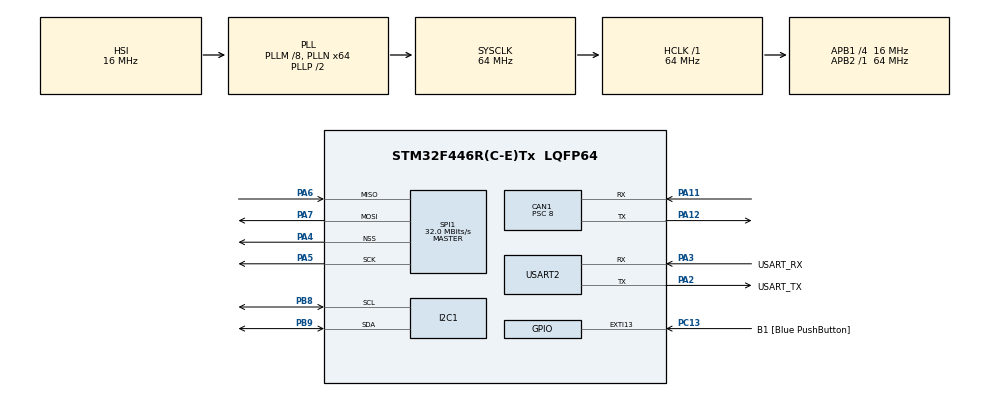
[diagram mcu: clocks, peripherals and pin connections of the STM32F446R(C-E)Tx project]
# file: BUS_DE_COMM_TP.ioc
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CAN1.BS1=CAN_BS1_13TQ
CAN1.BS2=CAN_BS2_2TQ
CAN1.CalculateBaudRate=125000
CAN1.CalculateTimeBit=8000
CAN1.CalculateTimeQuantum=500.0
CAN1.Prescaler=8
Mcu.Family=STM32F4
Mcu.Name=STM32F446R(C-E)Tx
Mcu.Package=LQFP64
NVIC.CAN1_RX0_IRQn=true\:0\:0\:false\:false\:true\:true\:true\:true
NVIC.CAN1_RX1_IRQn=true\:0\:0\:false\:false\:true\:true\:true\:true
NVIC.I2C1_ER_IRQn=true\:0\:0\:false\:false\:true\:true\:true\:true
NVIC.I2C1_EV_IRQn=true\:0\:0\:false\:false\:true\:true\:true\:true
NVIC.PriorityGroup=NVIC_PRIORITYGROUP_0
PA11.Mode=CAN_Activate
PA11.Signal=CAN1_RX
PA12.Mode=CAN_Activate
PA12.Signal=CAN1_TX
PA13.GPIO_Label=TMS
PA13.Mode=Serial_Wire
PA13.Signal=SYS_JTMS-SWDIO
PA14.GPIO_Label=TCK
PA14.Mode=Serial_Wire
PA14.Signal=SYS_JTCK-SWCLK
PA2.GPIO_Label=USART_TX
PA2.Mode=Asynchronous
PA2.Signal=USART2_TX
PA3.GPIO_Label=USART_RX
PA3.Mode=Asynchronous
PA3.Signal=USART2_RX
PA4.Mode=NSS_Signal_Hard_Output
PA4.Signal=SPI1_NSS
PA5.Mode=Full_Duplex_Master
PA5.Signal=SPI1_SCK
PA6.Mode=Full_Duplex_Master
PA6.Signal=SPI1_MISO
PA7.Mode=Full_Duplex_Master
PA7.Signal=SPI1_MOSI
PB8.Mode=I2C
PB8.Signal=I2C1_SCL
PB9.Mode=I2C
PB9.Signal=I2C1_SDA
PC13.GPIO_Label=B1 [Blue PushButton]
PC13.GPIO_ModeDefaultEXTI=GPIO_MODE_IT_FALLING
PC13.Signal=GPXTI13
PC14-OSC32_IN.Mode=LSE-External-Oscillator
PC14-OSC32_IN.Signal=RCC_OSC32_IN
PC15-OSC32_OUT.Mode=LSE-External-Oscillator
PC15-OSC32_OUT.Signal=RCC_OSC32_OUT
PH0-OSC_IN.Mode=HSE-External-Oscillator
PH0-OSC_IN.Signal=RCC_OSC_IN
PH1-OSC_OUT.Mode=HSE-External-Oscillator
PH1-OSC_OUT.Signal=RCC_OSC_OUT
ProjectManager.HeapSize=0x200
ProjectManager.StackSize=0x400
ProjectManager.TargetToolchain=STM32CubeIDE
RCC.48MHZClocksFreq_Value=84000000
RCC.AHBFreq_Value=64000000
RCC.APB1CLKDivider=RCC_HCLK_DIV4
RCC.APB1Freq_Value=16000000
RCC.APB1TimFreq_Value=32000000
RCC.APB2Freq_Value=64000000
RCC.APB2TimFreq_Value=64000000
RCC.CortexFreq_Value=64000000
RCC.FLatency-AdvancedSettings=FLASH_LATENCY_2
RCC.HCLKFreq_Value=64000000
RCC.HSE_VALUE=8000000
RCC.HSI_VALUE=16000000
RCC.PLLM=8
RCC.PLLN=64
RCC.SYSCLKFreq_VALUE=64000000
RCC.SYSCLKSource=RCC_SYSCLKSOURCE_PLLCLK
RCC.USBFreq_Value=64000000
RCC.VCOOutputFreq_Value=128000000
SPI1.CalculateBaudRate=32.0 MBits/s
SPI1.Direction=SPI_DIRECTION_2LINES
SPI1.Mode=SPI_MODE_MASTER
SPI1.VirtualNSS=VM_NSSHARD
SPI1.VirtualType=VM_MASTER
TIM6.AutoReloadPreload=TIM_AUTORELOAD_PRELOAD_ENABLE
TIM6.Prescaler=84
USART2.VirtualMode=VM_ASYNC
VP_TIM6_VS_ClockSourceINT.Mode=Enable_Timer
board=NUCLEO-F446RE

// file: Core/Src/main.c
/* USER CODE BEGIN Header */
/**
  ******************************************************************************
  * @file           : main.c
  * @brief          : Main program body
  ******************************************************************************
  * @attention
  *
  * Copyright (c) 2022 STMicroelectronics.
  * All rights reserved.
  *
  * This software is licensed under terms that can be found in the LICENSE file
  * in the root directory of this software component.
  * If no LICENSE file comes with this software, it is provided AS-IS.
  *
  ******************************************************************************
  */
/* USER CODE END Header */
#include "main.h"

/* USER CODE BEGIN Includes */
#include "RTC.h"

/* USER CODE END Includes */

CAN_HandleTypeDef hcan1;

I2C_HandleTypeDef hi2c1;

SPI_HandleTypeDef hspi1;

TIM_HandleTypeDef htim6;

UART_HandleTypeDef huart2;

void SystemClock_Config(void);
static void MX_GPIO_Init(void);
static void MX_USART2_UART_Init(void);
static void MX_TIM6_Init(void);
static void MX_SPI1_Init(void);
static void MX_I2C1_Init(void);
static void MX_CAN1_Init(void);
/* USER CODE BEGIN PFP */

int __io_putchar(int ch)
{
	while(((USART2->SR)&= (1<<7))==0);
	USART2->DR = ch;
}
/* USER CODE END PFP */

int main(void)
{
  /* USER CODE BEGIN 1 */
//	date_s date;
	CAN_TxHeaderTypeDef can_tx_header;
	CAN_RxHeaderTypeDef can_rx_header;
	CAN_FilterTypeDef can_filter;

	uint8_t TX_Buffer[8] = "Hugo";
	uint8_t RX_Buffer[8];
	HAL_StatusTypeDef status;

  /* USER CODE END 1 */

  /* MCU Configuration--------------------------------------------------------*/

  /* Reset of all peripherals, Initializes the Flash interface and the Systick. */
  HAL_Init();

  /* Configure the system clock */
  SystemClock_Config();

  /* Initialize all configured peripherals */
  MX_GPIO_Init();
  MX_USART2_UART_Init();
  MX_TIM6_Init();
  MX_SPI1_Init();
  MX_I2C1_Init();
  MX_CAN1_Init();

  /* Infinite loop */
  /* USER CODE BEGIN WHILE */
  HAL_Delay(1000);

  HAL_CAN_Start(&hcan1);

  can_filter.FilterMaskIdLow = 0x00;
  can_filter.FilterMaskIdHigh = 0x00;
  can_filter.FilterMode = CAN_FILTERMODE_IDMASK;
  can_filter.FilterActivation = CAN_FILTER_ENABLE;
  can_filter.FilterFIFOAssignment = CAN_RX_FIFO0;
  can_filter.FilterBank = 0;
  can_filter.FilterIdHigh = 0;
  can_filter.FilterIdLow = 0;
  can_filter.FilterScale = 0;
  can_filter.SlaveStartFilterBank = 0;
  HAL_CAN_ConfigFilter(&hcan1, &can_filter);

  can_tx_header.StdId = 10;
  can_tx_header.ExtId = 0;
  can_tx_header.IDE = CAN_ID_STD;
  can_tx_header.RTR = CAN_RTR_DATA;
  can_tx_header.DLC = 2;
  can_tx_header.TransmitGlobalTime = 0;

  HAL_Delay(1000);

  while (1)
  {
    /* USER CODE END WHILE */

    /* USER CODE BEGIN 3 */

	  status = HAL_CAN_AddTxMessage(&hcan1, &can_tx_header, &TX_Buffer, CAN_TX_MAILBOX0);

	  while(HAL_CAN_GetRxFifoFillLevel(&hcan1, CAN_RX_FIFO0) == 0);
	  HAL_CAN_GetRxMessage(&hcan1, CAN_RX_FIFO0, &can_rx_header, RX_Buffer);
	  printf("%s", RX_Buffer);
	  printf("\n \r");
	  HAL_Delay(200);
  }
  /* USER CODE END 3 */
}

void SystemClock_Config(void)
{
  RCC_OscInitTypeDef RCC_OscInitStruct = {0};
  RCC_ClkInitTypeDef RCC_ClkInitStruct = {0};

  /** Configure the main internal regulator output voltage
  */
  __HAL_RCC_PWR_CLK_ENABLE();
  __HAL_PWR_VOLTAGESCALING_CONFIG(PWR_REGULATOR_VOLTAGE_SCALE3);

  /** Initializes the RCC Oscillators according to the specified parameters
  * in the RCC_OscInitTypeDef structure.
  */
  RCC_OscInitStruct.OscillatorType = RCC_OSCILLATORTYPE_HSI;
  RCC_OscInitStruct.HSIState = RCC_HSI_ON;
  RCC_OscInitStruct.HSICalibrationValue = RCC_HSICALIBRATION_DEFAULT;
  RCC_OscInitStruct.PLL.PLLState = RCC_PLL_ON;
  RCC_OscInitStruct.PLL.PLLSource = RCC_PLLSOURCE_HSI;
  RCC_OscInitStruct.PLL.PLLM = 8;
  RCC_OscInitStruct.PLL.PLLN = 64;
  RCC_OscInitStruct.PLL.PLLP = RCC_PLLP_DIV2;
  RCC_OscInitStruct.PLL.PLLQ = 2;
  RCC_OscInitStruct.PLL.PLLR = 2;
  if (HAL_RCC_OscConfig(&RCC_OscInitStruct) != HAL_OK)
  {
    Error_Handler();
  }

  /** Initializes the CPU, AHB and APB buses clocks
  */
  RCC_ClkInitStruct.ClockType = RCC_CLOCKTYPE_HCLK|RCC_CLOCKTYPE_SYSCLK
                              |RCC_CLOCKTYPE_PCLK1|RCC_CLOCKTYPE_PCLK2;
  RCC_ClkInitStruct.SYSCLKSource = RCC_SYSCLKSOURCE_PLLCLK;
  RCC_ClkInitStruct.AHBCLKDivider = RCC_SYSCLK_DIV1;
  RCC_ClkInitStruct.APB1CLKDivider = RCC_HCLK_DIV4;
  RCC_ClkInitStruct.APB2CLKDivider = RCC_HCLK_DIV1;

  if (HAL_RCC_ClockConfig(&RCC_ClkInitStruct, FLASH_LATENCY_2) != HAL_OK)
  {
    Error_Handler();
  }
}

static void MX_CAN1_Init(void)
{

  hcan1.Instance = CAN1;
  hcan1.Init.Prescaler = 8;
  hcan1.Init.Mode = CAN_MODE_NORMAL;
  hcan1.Init.SyncJumpWidth = CAN_SJW_1TQ;
  hcan1.Init.TimeSeg1 = CAN_BS1_13TQ;
  hcan1.Init.TimeSeg2 = CAN_BS2_2TQ;
  hcan1.Init.TimeTriggeredMode = DISABLE;
  hcan1.Init.AutoBusOff = DISABLE;
  hcan1.Init.AutoWakeUp = DISABLE;
  hcan1.Init.AutoRetransmission = DISABLE;
  hcan1.Init.ReceiveFifoLocked = DISABLE;
  hcan1.Init.TransmitFifoPriority = DISABLE;
  if (HAL_CAN_Init(&hcan1) != HAL_OK)
  {
    Error_Handler();
  }

}

static void MX_I2C1_Init(void)
{

  hi2c1.Instance = I2C1;
  hi2c1.Init.ClockSpeed = 100000;
  hi2c1.Init.DutyCycle = I2C_DUTYCYCLE_2;
  hi2c1.Init.OwnAddress1 = 0;
  hi2c1.Init.AddressingMode = I2C_ADDRESSINGMODE_7BIT;
  hi2c1.Init.DualAddressMode = I2C_DUALADDRESS_DISABLE;
  hi2c1.Init.OwnAddress2 = 0;
  hi2c1.Init.GeneralCallMode = I2C_GENERALCALL_DISABLE;
  hi2c1.Init.NoStretchMode = I2C_NOSTRETCH_DISABLE;
  if (HAL_I2C_Init(&hi2c1) != HAL_OK)
  {
    Error_Handler();
  }

}

static void MX_SPI1_Init(void)
{

  /* SPI1 parameter configuration*/
  hspi1.Instance = SPI1;
  hspi1.Init.Mode = SPI_MODE_MASTER;
  hspi1.Init.Direction = SPI_DIRECTION_2LINES;
  hspi1.Init.DataSize = SPI_DATASIZE_8BIT;
  hspi1.Init.CLKPolarity = SPI_POLARITY_LOW;
  hspi1.Init.CLKPhase = SPI_PHASE_1EDGE;
  hspi1.Init.NSS = SPI_NSS_HARD_OUTPUT;
  hspi1.Init.BaudRatePrescaler = SPI_BAUDRATEPRESCALER_2;
  hspi1.Init.FirstBit = SPI_FIRSTBIT_MSB;
  hspi1.Init.TIMode = SPI_TIMODE_DISABLE;
  hspi1.Init.CRCCalculation = SPI_CRCCALCULATION_DISABLE;
  hspi1.Init.CRCPolynomial = 10;
  if (HAL_SPI_Init(&hspi1) != HAL_OK)
  {
    Error_Handler();
  }

}

static void MX_TIM6_Init(void)
{

  TIM_MasterConfigTypeDef sMasterConfig = {0};

  htim6.Instance = TIM6;
  htim6.Init.Prescaler = 84;
  htim6.Init.CounterMode = TIM_COUNTERMODE_UP;
  htim6.Init.Period = 65535;
  htim6.Init.AutoReloadPreload = TIM_AUTORELOAD_PRELOAD_ENABLE;
  if (HAL_TIM_Base_Init(&htim6) != HAL_OK)
  {
    Error_Handler();
  }
  sMasterConfig.MasterOutputTrigger = TIM_TRGO_RESET;
  sMasterConfig.MasterSlaveMode = TIM_MASTERSLAVEMODE_DISABLE;
  if (HAL_TIMEx_MasterConfigSynchronization(&htim6, &sMasterConfig) != HAL_OK)
  {
    Error_Handler();
  }

}

static void MX_USART2_UART_Init(void)
{

  huart2.Instance = USART2;
  huart2.Init.BaudRate = 115200;
  huart2.Init.WordLength = UART_WORDLENGTH_8B;
  huart2.Init.StopBits = UART_STOPBITS_1;
  huart2.Init.Parity = UART_PARITY_NONE;
  huart2.Init.Mode = UART_MODE_TX_RX;
  huart2.Init.HwFlowCtl = UART_HWCONTROL_NONE;
  huart2.Init.OverSampling = UART_OVERSAMPLING_16;
  if (HAL_UART_Init(&huart2) != HAL_OK)
  {
    Error_Handler();
  }

}

static void MX_GPIO_Init(void)
{
  GPIO_InitTypeDef GPIO_InitStruct = {0};

  /* GPIO Ports Clock Enable */
  __HAL_RCC_GPIOC_CLK_ENABLE();
  __HAL_RCC_GPIOH_CLK_ENABLE();
  __HAL_RCC_GPIOA_CLK_ENABLE();
  __HAL_RCC_GPIOB_CLK_ENABLE();

  /*Configure GPIO pin : B1_Pin */
  GPIO_InitStruct.Pin = B1_Pin;
  GPIO_InitStruct.Mode = GPIO_MODE_IT_FALLING;
  GPIO_InitStruct.Pull = GPIO_NOPULL;
  HAL_GPIO_Init(B1_GPIO_Port, &GPIO_InitStruct);

}

/* USER CODE BEGIN 4 */
///*Configure GPIO pin : B1_Pin */
//GPIO_InitStruct.Pin = GPIO_PIN_6;
//GPIO_InitStruct.Mode = GPIO_MODE_OUTPUT_PP;
//GPIO_InitStruct.Pull = GPIO_NOPULL;
//HAL_GPIO_Init(GPIOB, &GPIO_InitStruct);
/* USER CODE END 4 */

void Error_Handler(void)
{
  __disable_irq();
  while (1)
  {
  }
}
